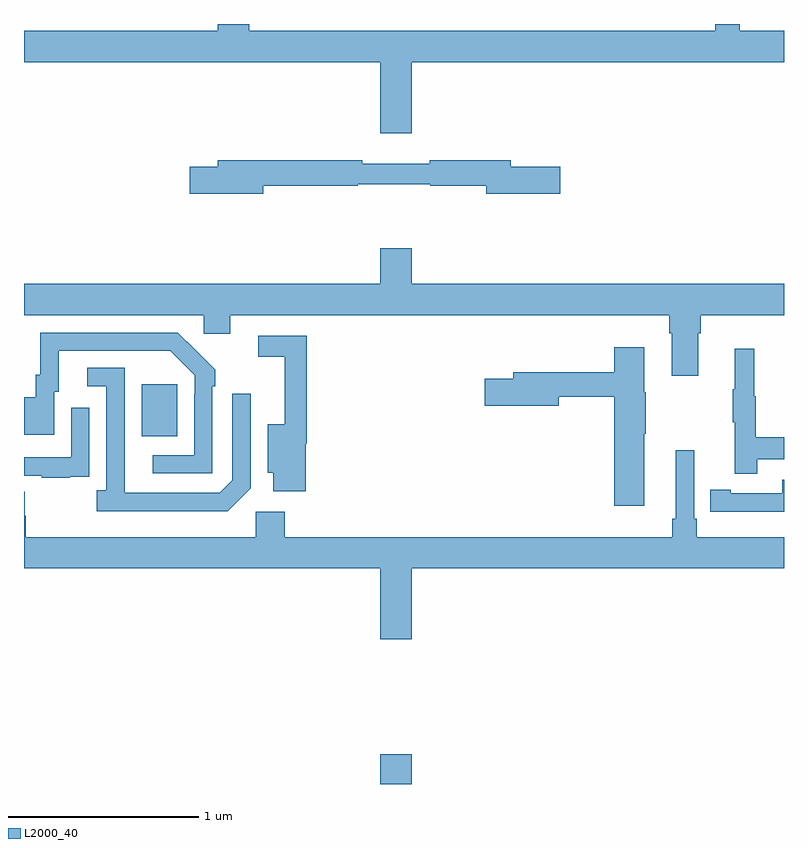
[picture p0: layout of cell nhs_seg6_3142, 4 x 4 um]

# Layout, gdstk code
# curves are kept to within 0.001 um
import gdstk
lib = gdstk.Library(unit=1e-6, precision=1e-09)
def R(c, l, rs):  # rectangles x0, y0, x1, y1
    for r in rs: c.add(gdstk.rectangle(r[:2], r[2:], *l))
def P(c, l, *ps):  # polygons
    for p in ps: c.add(gdstk.Polygon(p, *l))
L2000_40 = (2000, 40)

nhs_seg6_3142 = lib.new_cell('nhs_seg6_3142')
R(nhs_seg6_3142, L2000_40, [(296.876,979.5,297.04,979.657), (295.619,981.329,295.807,981.604)])
P(nhs_seg6_3142, L2000_40, [(297.04,983.3),(299,983.3),(299,983.464),(298.768,983.464),(298.768,983.5),(298.639,983.5),(298.639,983.464),(296.186,983.464),(296.186,983.5),(296.021,983.5),(296.021,983.464),(295,983.464),(295,983.3),(296.876,983.3),(296.876,982.926),(297.04,982.926)],
  [(296.26,982.648),(296.756,982.648),(296.756,982.656),(297.138,982.656),(297.138,982.648),(297.434,982.648),(297.434,982.606),(297.823,982.606),(297.823,982.748),(297.562,982.748),(297.562,982.784),(297.136,982.784),(297.136,982.765),(296.78,982.765),(296.78,982.784),(296.021,982.784),(296.021,982.748),(295.872,982.748),(295.872,982.606),(296.26,982.606)],
  [(298.549,981.872),(298.562,981.872),(298.562,981.968),(299,981.968),(299,982.132),(297.04,982.132),(297.04,982.321),(296.876,982.321),(296.876,982.132),(295,982.132),(295,981.968),(295.947,981.968),(295.947,981.87),(296.086,981.87),(296.086,981.968),(298.397,981.968),(298.397,981.872),(298.409,981.872),(298.409,981.648),(298.549,981.648)],
  [(295.992,981.593),(296.007,981.593),(296.007,981.681),(295.81,981.876),(295.086,981.876),(295.086,981.654),(295.061,981.654),(295.061,981.535),(295,981.535),(295,981.339),(295.159,981.339),(295.159,981.564),(295.183,981.564),(295.183,981.78),(295.771,981.78),(295.899,981.651),(295.899,981.551),(295.896,981.551),(295.896,981.231),(295.677,981.231),(295.677,981.135),(295.992,981.135)],
  [(296.483,981.29),(296.489,981.29),(296.489,981.858),(296.232,981.858),(296.232,981.75),(296.372,981.75),(296.372,981.394),(296.282,981.394),(296.282,981.137),(296.312,981.137),(296.312,981.042),(296.483,981.042)],
  [(298.264,981.343),(298.272,981.343),(298.272,981.561),(298.264,981.561),(298.264,981.799),(298.106,981.799),(298.106,981.667),(297.575,981.667),(297.575,981.633),(297.426,981.633),(297.426,981.491),(297.814,981.491),(297.814,981.538),(298.106,981.538),(298.106,980.964),(298.264,980.964)],
  [(298.859,981.21),(299,981.21),(299,981.326),(298.852,981.326),(298.852,981.54),(298.844,981.54),(298.844,981.79),(298.742,981.79),(298.742,981.577),(298.731,981.577),(298.731,981.403),(298.742,981.403),(298.742,981.132),(298.859,981.132)],
  [(296.193,981.057),(296.193,981.553),(296.097,981.553),(296.097,981.099),(296.031,981.033),(295.531,981.033),(295.53,981.69),(295.332,981.69),(295.332,981.594),(295.434,981.594),(295.434,981.046),(295.383,981.046),(295.383,980.936),(296.072,980.936)],
  [(295.241,981.117),(295.343,981.117),(295.343,981.226),(295.344,981.226),(295.344,981.481),(295.248,981.481),(295.248,981.219),(295,981.219),(295,981.123),(295.093,981.123),(295.093,981.111),(295.241,981.111)],
  [(297.04,980.636),(299,980.636),(299,980.8),(298.541,980.8),(298.541,980.896),(298.527,980.896),(298.527,981.256),(298.43,981.256),(298.43,980.896),(298.411,980.896),(298.411,980.8),(296.372,980.8),(296.372,980.932),(296.22,980.932),(296.22,980.8),(295.01,980.8),(295.01,980.913),(295.005,980.913),(295.005,981.038),(295,981.038),(295,980.636),(296.876,980.636),(296.876,980.262),(297.04,980.262)],
  [(299,981.102),(298.992,981.102),(298.992,981.03),(298.72,981.03),(298.72,981.05),(298.612,981.05),(298.612,980.934),(298.72,980.934),(298.72,980.933),(299,980.933)])

lib.write_gds('nhs_seg6_3142.gds')
